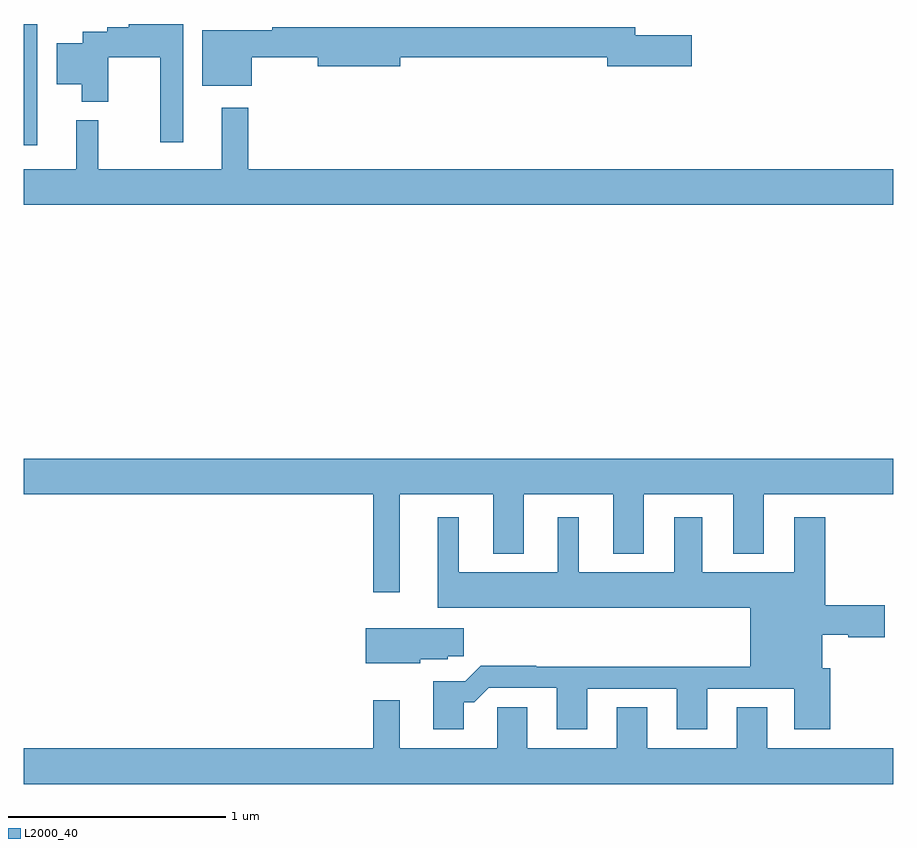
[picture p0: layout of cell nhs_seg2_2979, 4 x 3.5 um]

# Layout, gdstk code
import gdstk
lib = gdstk.Library(unit=1e-6, precision=1e-09)
def R(c, l, rs):  # rectangles x0, y0, x1, y1
    for r in rs: c.add(gdstk.rectangle(r[:2], r[2:], *l))
def P(c, l, *ps):  # polygons
    for p in ps: c.add(gdstk.Polygon(p, *l))
L2000_40 = (2000, 40)

nhs_seg2_2979 = lib.new_cell('nhs_seg2_2979')
R(nhs_seg2_2979, L2000_40, [(267,649.242,267.063,649.8)])
P(nhs_seg2_2979, L2000_40, [(267.733,649.8),(267.482,649.8),(267.482,649.784),(267.384,649.784),(267.384,649.764),(267.272,649.764),(267.272,649.711),(267.152,649.711),(267.152,649.523),(267.266,649.523),(267.266,649.442),(267.388,649.442),(267.388,649.648),(267.629,649.648),(267.629,649.257),(267.733,649.257)],
  [(268.048,649.648),(268.352,649.648),(268.352,649.606),(268.732,649.606),(268.732,649.648),(269.684,649.648),(269.684,649.606),(270.073,649.606),(270.073,649.748),(269.812,649.748),(269.812,649.784),(268.144,649.784),(268.144,649.771),(267.821,649.771),(267.821,649.517),(268.048,649.517)],
  [(271,649.132),(268.033,649.132),(268.033,649.414),(267.911,649.414),(267.911,649.132),(267.344,649.132),(267.344,649.357),(267.242,649.357),(267.242,649.132),(267,649.132),(267,648.968),(271,648.968)],
  [(268.729,647.636),(269.159,647.636),(269.159,647.363),(269.299,647.363),(269.299,647.636),(269.711,647.636),(269.711,647.363),(269.851,647.363),(269.851,647.636),(270.263,647.636),(270.263,647.363),(270.403,647.363),(270.403,647.636),(271,647.636),(271,647.8),(267,647.8),(267,647.636),(268.608,647.636),(268.608,647.187),(268.729,647.187)],
  [(269.023,646.679),(269.072,646.679),(269.139,646.746),(269.453,646.746),(269.453,646.557),(269.593,646.557),(269.593,646.743),(270.005,646.743),(270.005,646.557),(270.145,646.557),(270.145,646.743),(270.545,646.743),(270.545,646.557),(270.71,646.557),(270.71,646.836),(270.673,646.836),(270.673,646.991),(270.793,646.991),(270.793,646.979),(270.961,646.979),(270.961,647.126),(270.686,647.126),(270.686,647.53),(270.545,647.53),(270.545,647.278),(270.121,647.278),(270.121,647.53),(269.993,647.53),(269.993,647.278),(269.554,647.278),(269.554,647.53),(269.456,647.53),(269.456,647.278),(269.002,647.278),(269.002,647.53),(268.904,647.53),(268.904,647.114),(270.341,647.114),(270.341,646.844),(269.357,646.844),(269.357,646.847),(269.102,646.847),(269.031,646.776),(268.883,646.776),(268.883,646.557),(269.023,646.557)],
  [(268.824,646.877),(268.95,646.877),(268.95,646.891),(269.023,646.891),(269.023,647.02),(268.574,647.02),(268.574,646.859),(268.824,646.859)],
  [(271,646.468),(270.421,646.468),(270.421,646.658),(270.281,646.658),(270.281,646.468),(269.869,646.468),(269.869,646.658),(269.729,646.658),(269.729,646.468),(269.317,646.468),(269.317,646.658),(269.178,646.658),(269.178,646.468),(268.729,646.468),(268.729,646.69),(268.608,646.69),(268.608,646.468),(267,646.468),(267,646.304),(271,646.304)])

lib.write_gds('nhs_seg2_2979.gds')
